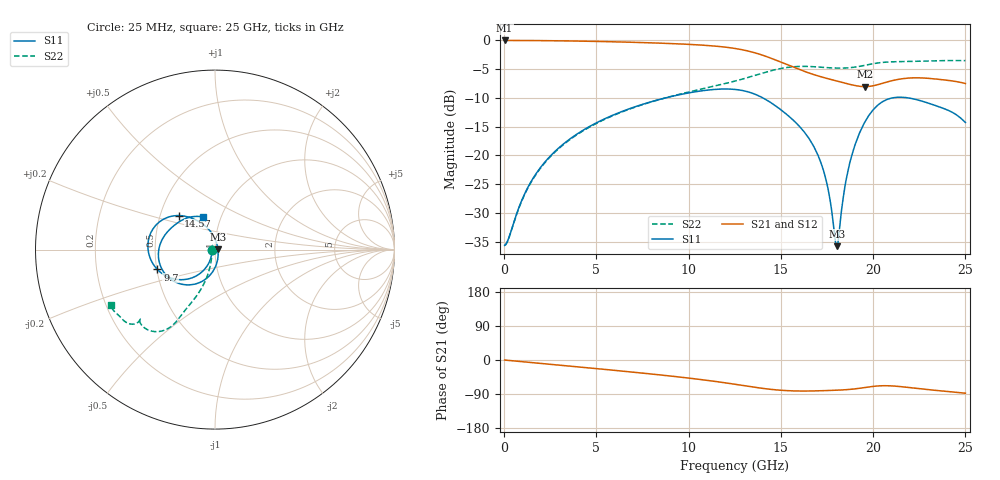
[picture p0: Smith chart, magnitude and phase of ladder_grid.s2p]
! BV_vna_clk_w5: kisi's ladder as in the channel (with the cavities), 3D loss model
# Hz S RI R 50
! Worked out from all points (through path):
!   1000 points, 25 MHz to 25 GHz, reference 50 ohm
!   highest |S21| = -0.15 dB at 25 MHz (marker M1); lowest = -8.1 dB at 19.55 GHz (marker M2)
!   group delay of S21, straight-line fit = 9.67 ps
!   lowest |S11| = -35.7 dB at 18.02 GHz (marker M3), VSWR 1.03, Z = 51.7 + j0.227 ohm
!   |S11| at or under -10 dB: start of sweep to 8.827 GHz; 13.98 GHz to 21.17 GHz (7.182 GHz wide, 40.9 % of centre); 21.75 GHz to end of sweep
!   |S22| runs from -35.5 to -3.6 dB; largest |S21 - S12| = 0
!   S11 on the Smith chart (normalised r, x): 25 MHz: 0.97, -0.00; 9.7 GHz: 0.50, -0.13; 14.57 GHz: 0.62, +0.26; 25 GHz: 0.83, +0.31
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2.5e7  -0.0167 -0.000934  0.9833 -0.00193  0.9833 -0.00193  -0.0167 -0.000948
1.025e9  -0.0211 -0.038  0.9793 -0.079  0.9793 -0.079  -0.0185 -0.0388
1.725e9  -0.0292 -0.063  0.972 -0.1326  0.972 -0.1326  -0.0218 -0.065
2.8e9  -0.0492 -0.0985  0.9537 -0.2137  0.9537 -0.2137  -0.0299 -0.1045
4.2e9  -0.088 -0.1364  0.9173 -0.316  0.9173 -0.316  -0.0456 -0.1537
8.35e9  -0.2612 -0.1524  0.7271 -0.585  0.7271 -0.585  -0.1176 -0.278
9.7e9  -0.3209 -0.1108  0.6357 -0.6581  0.6357 -0.6581  -0.1449 -0.3117
1.2525e10  -0.3616 0.0841  0.3653 -0.7542  0.3653 -0.7542  -0.2048 -0.3883
1.4575e10  -0.2026 0.1897  0.1405 -0.6653  0.1405 -0.6653  -0.2995 -0.4543
1.6675e10  -0.0425 0.1207  0.0727 -0.5002  0.0727 -0.5002  -0.4138 -0.4134
1.7425e10  -0.00181 0.0634  0.0748 -0.4595  0.0748 -0.4595  -0.4209 -0.3903
1.765e10  0.00681 0.0421  0.0761 -0.449  0.0761 -0.449  -0.4204 -0.3863
1.7925e10  0.0143 0.0134  0.0778 -0.4366  0.0778 -0.4366  -0.4191 -0.3836
1.8025e10  0.0163 0.00219  0.0785 -0.4322  0.0785 -0.4322  -0.4185 -0.3832
1.8125e10  0.0171 -0.00924  0.0794 -0.4278  0.0794 -0.4278  -0.4181 -0.3834
1.8425e10  0.016 -0.0458  0.0828 -0.4146  0.0828 -0.4146  -0.4172 -0.3855
1.87e10  0.00783 -0.0814  0.0876 -0.4026  0.0876 -0.4026  -0.4179 -0.3898
1.9075e10  -0.0174 -0.1295  0.0978 -0.3876  0.0978 -0.3876  -0.4227 -0.3986
1.955e10  -0.0756 -0.1788  0.1175 -0.3749  0.1175 -0.3749  -0.4377 -0.4106
2.085e10  -0.2748 -0.1392  0.1626 -0.4033  0.1626 -0.4033  -0.4993 -0.4025
2.25e10  -0.2933 0.0584  0.1161 -0.4531  0.1161 -0.4531  -0.537 -0.3664
2.5e10  -0.0644 0.1815  0.0173 -0.4177  0.0173 -0.4177  -0.5808 -0.3111
